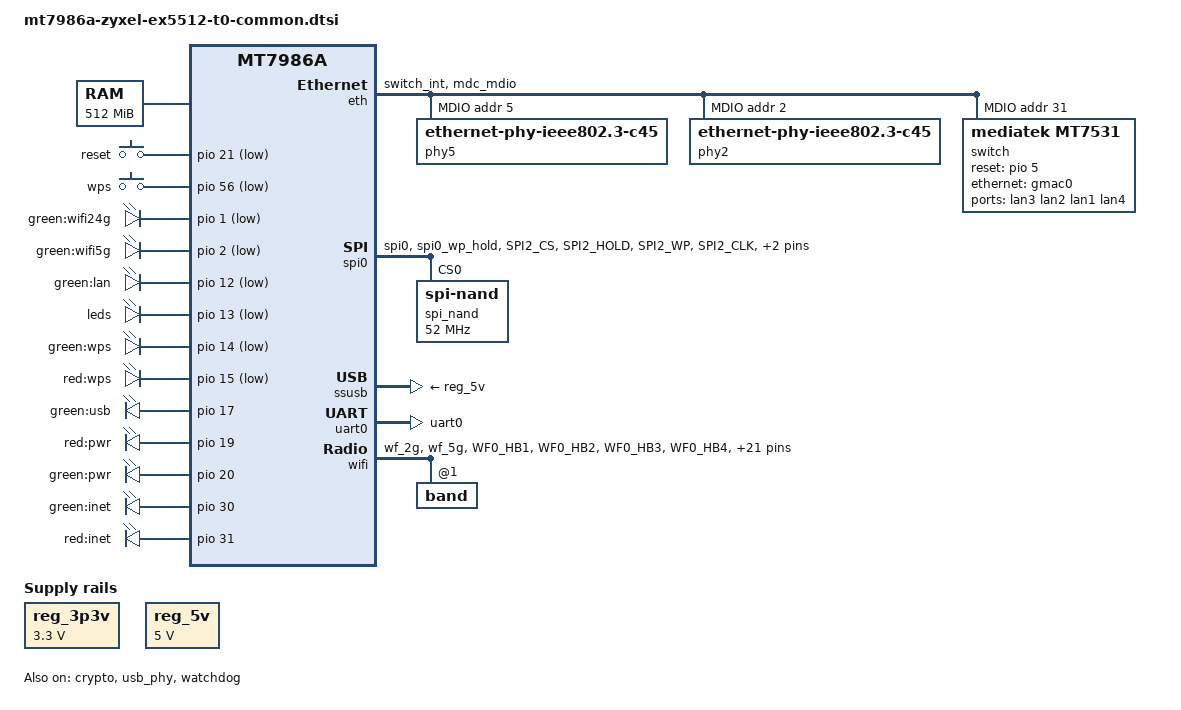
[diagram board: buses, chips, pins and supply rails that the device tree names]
// SPDX-License-Identifier: GPL-2.0-only OR MIT

/dts-v1/;

#include <dt-bindings/gpio/gpio.h>
#include <dt-bindings/input/input.h>
#include <dt-bindings/leds/common.h>
#include <dt-bindings/pinctrl/mt65xx.h>

#include "mt7986a.dtsi"

/ {
	aliases {
		serial0 = &uart0;
		label-mac-device = &gmac0;
		led-boot = &led_status_green;
		led-failsafe = &led_status_red;
		led-running = &led_status_green;
		led-upgrade = &led_status_red;
	};

	chosen: chosen {
		stdout-path = "serial0:115200n8";
	};

    memory {
		reg = <0 0x40000000 0 0x20000000>; // 512mb
        device_type = "memory";
	};

	reg_3p3v: regulator-3p3v {
		compatible = "regulator-fixed";
		regulator-name = "fixed-3.3V";
		regulator-min-microvolt = <3300000>;
		regulator-max-microvolt = <3300000>;
		regulator-boot-on;
		regulator-always-on;
	};

	reg_5v: regulator-5v {
		compatible = "regulator-fixed";
		regulator-name = "fixed-5V";
		regulator-min-microvolt = <5000000>;
		regulator-max-microvolt = <5000000>;
		regulator-boot-on;
		regulator-always-on;
	};

	gpio-keys {
		compatible = "gpio-keys";
		poll-interval = <20>;

		reset-button {
			label = "reset";
			gpios = <&pio 21 GPIO_ACTIVE_LOW>;
			linux,code = <KEY_RESTART>;
		};

		wps-button {
			label = "wps";
			gpios = <&pio 56 GPIO_ACTIVE_LOW>;
			linux,code = <KEY_WPS_BUTTON>;
		};
	};

	leds {

        compatible = "gpio-leds";

		led_green_wifi24g {
			label = "green:wifi24g";
			gpios = <&pio 1 GPIO_ACTIVE_LOW>;
			default-state = "off";
		};

		led_green_wifi5g {
			label = "green:wifi5g";
			gpios = <&pio 2 GPIO_ACTIVE_LOW>;
			default-state = "off";
		};

        led_green_lan: led_green_lan {
            label = "green:lan";
			gpios = <&pio 12 GPIO_ACTIVE_LOW>;
		};

        led_en_pwr: led_en_pwr {
            label = "leds";
			gpios = <&pio 13 GPIO_ACTIVE_LOW>;
			default-state = "on";
        };

        led_green_wps: led_green_wps {
            label = "green:wps";
			gpios = <&pio 14 GPIO_ACTIVE_LOW>;
			default-state = "off";
		};

        led_red_wps: led_red_wps {
            label = "red:wps";
            gpios = <&pio 15 GPIO_ACTIVE_LOW>;
			default-state = "off";
        };

        led_green_usb: led_green_usb {
            label = "green:usb";
			gpios = <&pio 17 GPIO_ACTIVE_HIGH>;
			default-state = "off";
        };

        led_status_red: led_red_pwr {
			label = "red:pwr";
			gpios = <&pio 19 GPIO_ACTIVE_HIGH>;
			default-state = "off";
		};

        led_status_green: led_green_pwr {
			label = "green:pwr";
			gpios = <&pio 20 GPIO_ACTIVE_HIGH>;
            default-state = "on";
		};

		led_green_inet {
			label = "green:inet";
			gpios = <&pio 30 GPIO_ACTIVE_HIGH>;
		};

		led_red_inet {
			label = "red:inet";
			gpios = <&pio 31 GPIO_ACTIVE_HIGH>;
			default-state = "off";
		};
    };
		
};

&crypto {
	status = "okay";
};

&eth {
	pinctrl-names = "default";
	pinctrl-0 = <&eth_pins>;
    status = "okay";

	gmac0: mac@0 {
		compatible = "mediatek,eth-mac";
		reg = <0>;
		phy-mode = "2500base-x";

		nvmem-cells = <&macaddr_factory_2a 0>;
		nvmem-cell-names = "mac-address";

		fixed-link {
			speed = <2500>;
			full-duplex;
			pause;
		};
	};

	gmac1: mac@1 {
		compatible = "mediatek,eth-mac";
		reg = <1>;
		phy-mode = "2500base-x";
		phy = <&phy2>;

		nvmem-cells = <&macaddr_factory_24 0>;
		nvmem-cell-names = "mac-address";
	};

    mdio: mdio-bus {
		#address-cells = <1>;
		#size-cells = <0>;
		reset-gpios = <&pio 6 GPIO_ACTIVE_LOW>;
		reset-delay-us = <1500000>;
		reset-post-delay-us = <1000000>;

		phy5: phy@5 {
			compatible = "ethernet-phy-ieee802.3-c45";
			reg = <5>;

			leds {
				#address-cells = <1>;
				#size-cells = <0>;

				led@1 {
					reg = <1>;
					color = <LED_COLOR_ID_GREEN>;
					function = LED_FUNCTION_LAN;
				};
			};
		};

		phy2: phy@2 {
			compatible = "ethernet-phy-ieee802.3-c45";
			reg = <2>;

			leds {
				#address-cells = <1>;
				#size-cells = <0>;

                led@1 {
					reg = <1>;
					color = <LED_COLOR_ID_GREEN>;
					function = LED_FUNCTION_WAN;
				};
			};
		};

        switch@1f {
			compatible = "mediatek,mt7531";
			reg = <31>;
			reset-gpios = <&pio 5 GPIO_ACTIVE_HIGH>;

			ports {
				#address-cells = <1>;
				#size-cells = <0>;

				port@1 {
					reg = <1>;
					label = "lan3";
				};

				port@2 {
					reg = <2>;
					label = "lan2";
				};

				port@3 {
					reg = <3>;
					label = "lan1";
				};

				port@5 {
					reg = <5>;
					label = "lan4";
					phy-mode = "2500base-x";
					phy = <&phy5>;
				};

				port@6 {
					reg = <6>;
					ethernet = <&gmac0>;
					phy-mode = "2500base-x";

					fixed-link {
						speed = <2500>;
						full-duplex;
						pause;
					};
				};
			};
		};
    };
};

&spi0 {
	pinctrl-names = "default";
	pinctrl-0 = <&spi_flash_pins>;
	#address-cells = <1>;
	#size-cells = <0>;
	status = "okay";

	spi_nand: spi_nand@0 {
		compatible = "spi-nand";
		reg = <0>;
		spi-max-frequency = <52000000>;
		spi-tx-bus-width = <4>;
		spi-rx-bus-width = <4>;

		nand_partitions: partitions {
			compatible = "fixed-partitions";
			#address-cells = <1>;
			#size-cells = <1>;
		};
	};
};

&spi1 {
	status = "disabled";
};

&pio {
	eth_pins: eth-pins {
		mux {
			function = "eth";
			groups = "switch_int", "mdc_mdio";
		};
	};

	spic_pins_g2: spic-pins-29-to-32 {
		mux {
			function = "spi";
			groups = "spi1_2";
		};
	};

	spi_flash_pins: spi-flash-pins-33-to-38 {
		mux {
			function = "spi";
			groups = "spi0", "spi0_wp_hold";
		};
		conf-pu {
			pins = "SPI2_CS", "SPI2_HOLD", "SPI2_WP";
			drive-strength = <MTK_DRIVE_4mA>;
			bias-disable;	/* bias-disable */
		};
		conf-pd {
			pins = "SPI2_CLK", "SPI2_MOSI", "SPI2_MISO";
			drive-strength = <MTK_DRIVE_4mA>;
			bias-disable;	/* bias-disable */
		};
	};

	uart0_pins: uart0-pins {
		mux {
			function = "uart";
			groups = "uart0";
		};
	};

	wf_2g_5g_pins: wf_2g_5g-pins {
		mux {
			function = "wifi";
			groups = "wf_2g", "wf_5g";
		};
		conf {
			pins = "WF0_HB1", "WF0_HB2", "WF0_HB3", "WF0_HB4",
				"WF0_HB0", "WF0_HB0_B", "WF0_HB5", "WF0_HB6",
				"WF0_HB7", "WF0_HB8", "WF0_HB9", "WF0_HB10",
				"WF0_TOP_CLK", "WF0_TOP_DATA", "WF1_HB1",
				"WF1_HB2", "WF1_HB3", "WF1_HB4", "WF1_HB0",
				"WF1_HB5", "WF1_HB6", "WF1_HB7", "WF1_HB8",
				"WF1_TOP_CLK", "WF1_TOP_DATA";
			drive-strength = <MTK_DRIVE_4mA>;
		};
	};

	wf_dbdc_pins: wf_dbdc-pins {
		mux {
			function = "wifi";
			groups = "wf_dbdc";
		};
		conf {
			pins = "WF0_HB1", "WF0_HB2", "WF0_HB3", "WF0_HB4",
				"WF0_HB0", "WF0_HB0_B", "WF0_HB5", "WF0_HB6",
				"WF0_HB7", "WF0_HB8", "WF0_HB9", "WF0_HB10",
				"WF0_TOP_CLK", "WF0_TOP_DATA", "WF1_HB1",
				"WF1_HB2", "WF1_HB3", "WF1_HB4", "WF1_HB0",
				"WF1_HB5", "WF1_HB6", "WF1_HB7", "WF1_HB8",
				"WF1_TOP_CLK", "WF1_TOP_DATA";
			drive-strength = <MTK_DRIVE_4mA>;
		};
	};
};

&ssusb {
	vusb33-supply = <&reg_3p3v>;
	vbus-supply = <&reg_5v>;
	status = "okay";
};

&uart0 {
	pinctrl-names = "default";
	pinctrl-0 = <&uart0_pins>;
	status = "okay";
};

&usb_phy {
	status = "okay";
};

&watchdog {
	status = "okay";
};

&wifi {
	#address-cells = <1>;
	#size-cells = <0>;

	status = "okay";
	pinctrl-names = "default", "dbdc";
	pinctrl-0 = <&wf_2g_5g_pins>;
	pinctrl-1 = <&wf_dbdc_pins>;
	nvmem-cells = <&eeprom_factory>;
	nvmem-cell-names = "eeprom";

	band@1 {
		reg = <1>;
		nvmem-cells = <&macaddr_factory_4 1>;
		nvmem-cell-names = "mac-address";
	};
};
